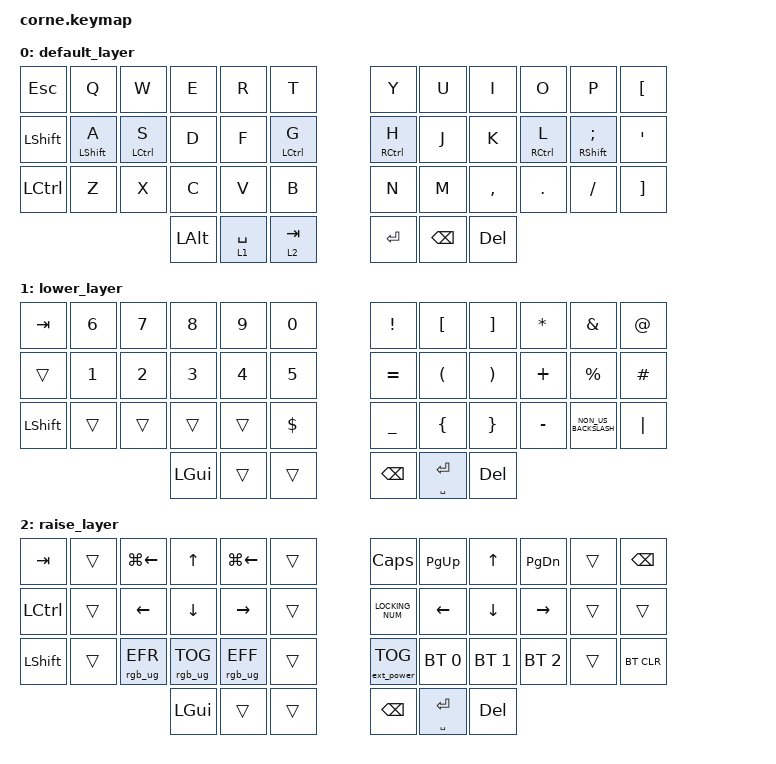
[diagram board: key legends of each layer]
/*
 * Copyright (c) 2020 The ZMK Contributors
 *
 * SPDX-License-Identifier: MIT
 */

#include <behaviors.dtsi>
#include <dt-bindings/zmk/bt.h>
#include <dt-bindings/zmk/ext_power.h>
#include <dt-bindings/zmk/keys.h>
#include <dt-bindings/zmk/rgb.h>

/ {
    behaviors {
        homerow: homerow {
            compatible = "zmk,behavior-hold-tap";
            label = "HOMEROW";
            bindings = <&kp>, <&kp>;

            #binding-cells = <2>;
            tapping-term-ms = <170>;
            quick-tap-ms = <0>;
            flavor = "tap-preferred";
        };
    };

    keymap {
        compatible = "zmk,keymap";

        default_layer {
            bindings = <
&kp ESCAPE      &kp Q             &kp W             &kp E         &kp R        &kp T               &kp Y             &kp U          &kp I      &kp O             &kp P                           &kp LEFT_BRACKET
&kp LEFT_SHIFT  &homerow LSHFT A  &homerow LCTRL S  &kp D         &kp F        &homerow LCTRL G    &homerow RCTRL H  &kp J          &kp K      &homerow RCTRL L  &homerow RIGHT_SHIFT SEMICOLON  &kp SQT
&kp LCTRL       &kp Z             &kp X             &kp C         &kp V        &kp B               &kp N             &kp M          &kp COMMA  &kp DOT           &kp FSLH                        &kp RIGHT_BRACKET
                                                    &kp LEFT_ALT  &lt 1 SPACE  &lt 2 TAB           &kp ENTER         &kp BACKSPACE  &kp DEL
            >;
        };

        lower_layer {
            bindings = <
&kp TAB    &kp NUMBER_6  &kp N7        &kp N8        &kp N9        &kp N0        &kp EXCLAMATION  &kp LEFT_BRACKET      &kp RIGHT_BRACKET      &kp ASTERISK  &kp AMPERSAND         &kp AT_SIGN
&trans     &kp NUMBER_1  &kp NUMBER_2  &kp NUMBER_3  &kp NUMBER_4  &kp N5        &kp EQUAL        &kp LEFT_PARENTHESIS  &kp RIGHT_PARENTHESIS  &kp PLUS      &kp PERCENT           &kp HASH
&kp LSHFT  &trans        &trans        &trans        &trans        &kp DOLLAR    &kp UNDERSCORE   &kp LEFT_BRACE        &kp RIGHT_BRACE        &kp MINUS     &kp NON_US_BACKSLASH  &kp PIPE
                                       &kp LGUI      &trans        &trans        &kp BACKSPACE    &homerow SPACE ENTER  &kp DEL
            >;
        };

        raise_layer {
            bindings = <
&kp TAB    &trans  &kp LG(LEFT_ARROW)  &kp UP_ARROW     &kp LG(LEFT_ARROW)  &trans    &kp CAPS           &kp PG_UP             &kp UP_ARROW    &kp PAGE_DOWN  &trans  &kp BSPC
&kp LCTRL  &trans  &kp LEFT_ARROW      &kp DOWN_ARROW   &kp RIGHT_ARROW     &trans    &kp LOCKING_NUM    &kp LEFT_ARROW        &kp DOWN_ARROW  &kp RIGHT      &trans  &trans
&kp LSHFT  &trans  &rgb_ug RGB_EFR     &rgb_ug RGB_TOG  &rgb_ug RGB_EFF     &trans    &ext_power EP_TOG  &bt BT_SEL 0          &bt BT_SEL 1    &bt BT_SEL 2   &trans  &bt BT_CLR
                                       &kp LGUI         &trans              &trans    &kp BACKSPACE      &homerow SPACE ENTER  &kp DEL
            >;
        };
    };
};

/ {
    layer_names {
        compatible = "zmk,layer-names";
        names = "Default", "Lower", "Raise";
    };
};



&led_strip { chain-length = <27>; };
